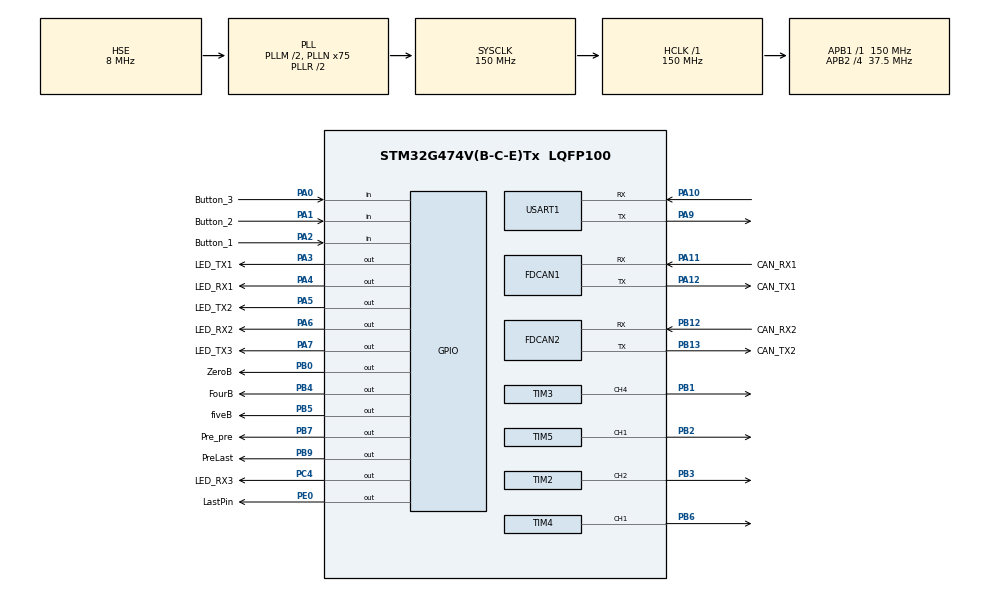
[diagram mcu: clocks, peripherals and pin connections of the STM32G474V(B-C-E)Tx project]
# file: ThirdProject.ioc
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Dma.Request0=USART1_TX
Dma.USART1_TX.0.Direction=DMA_MEMORY_TO_PERIPH
Dma.USART1_TX.0.EventEnable=DISABLE
Dma.USART1_TX.0.Instance=DMA1_Channel1
Dma.USART1_TX.0.MemDataAlignment=DMA_MDATAALIGN_BYTE
Dma.USART1_TX.0.MemInc=DMA_MINC_ENABLE
Dma.USART1_TX.0.Mode=DMA_NORMAL
Dma.USART1_TX.0.PeriphDataAlignment=DMA_PDATAALIGN_BYTE
Dma.USART1_TX.0.PeriphInc=DMA_PINC_DISABLE
Dma.USART1_TX.0.Polarity=HAL_DMAMUX_REQ_GEN_RISING
Dma.USART1_TX.0.Priority=DMA_PRIORITY_LOW
Dma.USART1_TX.0.RequestNumber=1
Dma.USART1_TX.0.SignalID=NONE
Dma.USART1_TX.0.SyncEnable=DISABLE
Dma.USART1_TX.0.SyncPolarity=HAL_DMAMUX_SYNC_NO_EVENT
Dma.USART1_TX.0.SyncRequestNumber=1
Dma.USART1_TX.0.SyncSignalID=NONE
FDCAN1.CalculateBaudRateNominal=500000
FDCAN1.CalculateTimeBitNominal=2000
FDCAN1.CalculateTimeQuantumNominal=125.0
FDCAN1.DataSyncJumpWidth=7
FDCAN1.DataTimeSeg1=7
FDCAN1.DataTimeSeg2=8
FDCAN1.NominalPrescaler=1
FDCAN1.NominalSyncJumpWidth=2
FDCAN1.NominalTimeSeg1=13
FDCAN1.StdFiltersNbr=1
FDCAN2.CalculateBaudRateNominal=500000
FDCAN2.CalculateTimeBitNominal=2000
FDCAN2.CalculateTimeQuantumNominal=125.0
FDCAN2.DataSyncJumpWidth=7
FDCAN2.DataTimeSeg1=7
FDCAN2.DataTimeSeg2=8
FDCAN2.NominalPrescaler=1
FDCAN2.NominalSyncJumpWidth=2
FDCAN2.NominalTimeSeg1=13
FDCAN2.StdFiltersNbr=1
Mcu.Family=STM32G4
Mcu.Name=STM32G474V(B-C-E)Tx
Mcu.Package=LQFP100
NVIC.DMA1_Channel1_IRQn=true\:0\:0\:false\:false\:true\:false\:true\:true
NVIC.FDCAN1_IT0_IRQn=true\:0\:0\:false\:false\:true\:true\:true\:true
NVIC.FDCAN2_IT0_IRQn=true\:0\:0\:false\:false\:true\:true\:true\:true
NVIC.PriorityGroup=NVIC_PRIORITYGROUP_4
NVIC.TIM2_IRQn=true\:0\:0\:false\:false\:true\:true\:true\:true
NVIC.TIM3_IRQn=true\:0\:0\:false\:false\:true\:true\:true\:true
NVIC.TIM4_IRQn=true\:0\:0\:false\:false\:true\:true\:true\:true
NVIC.TIM5_IRQn=true\:0\:0\:false\:false\:true\:true\:true\:true
NVIC.TIM6_DAC_IRQn=true\:0\:0\:false\:false\:true\:true\:true\:true
NVIC.USART1_IRQn=true\:0\:0\:false\:false\:true\:true\:true\:true
PA0.GPIO_Label=Button_3
PA0.GPIO_PuPd=GPIO_PULLUP
PA0.Signal=GPIO_Input
PA1.GPIO_Label=Button_2
PA1.GPIO_PuPd=GPIO_PULLUP
PA1.Signal=GPIO_Input
PA10.Mode=Asynchronous
PA10.Signal=USART1_RX
PA11.GPIO_Label=CAN_RX1
PA11.GPIO_PuPd=GPIO_PULLUP
PA11.Mode=FDCAN_Activate
PA11.Signal=FDCAN1_RX
PA12.GPIO_Label=CAN_TX1
PA12.Mode=FDCAN_Activate
PA12.Signal=FDCAN1_TX
PA13.Mode=Serial_Wire
PA13.Signal=SYS_JTMS-SWDIO
PA14.Mode=Serial_Wire
PA14.Signal=SYS_JTCK-SWCLK
PA15.GPIO_Pu=GPIO_PULLUP
PA15.Signal=I2C1_SCL
PA2.GPIO_Label=Button_1
PA2.GPIO_PuPd=GPIO_PULLUP
PA2.Signal=GPIO_Input
PA3.GPIO_Label=LED_TX1
PA3.PinState=GPIO_PIN_SET
PA3.Signal=GPIO_Output
PA4.GPIO_Label=LED_RX1
PA4.PinState=GPIO_PIN_SET
PA4.Signal=GPIO_Output
PA5.GPIO_Label=LED_TX2
PA5.PinState=GPIO_PIN_SET
PA5.Signal=GPIO_Output
PA6.GPIO_Label=LED_RX2
PA6.PinState=GPIO_PIN_SET
PA6.Signal=GPIO_Output
PA7.GPIO_Label=LED_TX3
PA7.PinState=GPIO_PIN_SET
PA7.Signal=GPIO_Output
PA8.GPIO_Label=CAN_RX3
PA8.Signal=FDCAN3_RX
PA9.Mode=Asynchronous
PA9.Signal=USART1_TX
PB0.GPIO_Label=ZeroB
PB0.Signal=GPIO_Output
PB1.Signal=S_TIM3_CH4
PB12.GPIO_Label=CAN_RX2
PB12.GPIO_PuPd=GPIO_PULLUP
PB12.Mode=FDCAN_Activate
PB12.Signal=FDCAN2_RX
PB13.GPIO_Label=CAN_TX2
PB13.Mode=FDCAN_Activate
PB13.Signal=FDCAN2_TX
PB2.Signal=S_TIM5_CH1
PB3.Signal=S_TIM2_CH2
PB4.GPIO_Label=FourB
PB4.Signal=GPIO_Output
PB5.GPIO_Label=fiveB
PB5.Signal=GPIO_Output
PB6.Signal=S_TIM4_CH1
PB7.GPIO_Label=Pre_pre
PB7.Signal=GPIO_Output
PB9.GPIO_Label=PreLast
PB9.Signal=GPIO_Output
PC4.GPIO_Label=LED_RX3
PC4.PinState=GPIO_PIN_SET
PC4.Signal=GPIO_Output
PE0.GPIO_Label=LastPin
PE0.Signal=GPIO_Output
PF0-OSC_IN.Mode=HSE-External-Oscillator
PF0-OSC_IN.Signal=RCC_OSC_IN
PF1-OSC_OUT.Mode=HSE-External-Oscillator
PF1-OSC_OUT.Signal=RCC_OSC_OUT
ProjectManager.HeapSize=0x200
ProjectManager.StackSize=0x400
ProjectManager.TargetToolchain=STM32CubeIDE
RCC.ADC12Freq_Value=150000000
RCC.ADC345Freq_Value=150000000
RCC.AHBFreq_Value=150000000
RCC.APB1Freq_Value=150000000
RCC.APB1TimFreq_Value=150000000
RCC.APB2CLKDivider=RCC_HCLK_DIV4
RCC.APB2Freq_Value=37500000
RCC.APB2TimFreq_Value=75000000
RCC.CortexFreq_Value=150000000
RCC.EXTERNAL_CLOCK_VALUE=12288000
RCC.FDCANCLockSelection=RCC_FDCANCLKSOURCE_HSE
RCC.HCLKFreq_Value=150000000
RCC.HSE_VALUE=8000000
RCC.HSI48_VALUE=48000000
RCC.HSI_VALUE=16000000
RCC.LSE_VALUE=32768
RCC.PLLM=RCC_PLLM_DIV2
RCC.PLLN=75
RCC.PLLSourceVirtual=RCC_PLLSOURCE_HSE
RCC.SYSCLKFreq_VALUE=150000000
RCC.SYSCLKSource=RCC_SYSCLKSOURCE_PLLCLK
RCC.USBFreq_Value=150000000
RCC.VCOOutputFreq_Value=300000000
SH.S_TIM2_CH2.0=TIM2_CH2,Output Compare2 CH2
SH.S_TIM3_CH4.0=TIM3_CH4,Output Compare4 CH4
SH.S_TIM4_CH1.0=TIM4_CH1,Output Compare1 CH1
SH.S_TIM5_CH1.0=TIM5_CH1,Output Compare1 CH1
TIM2.AutoReloadPreload=TIM_AUTORELOAD_PRELOAD_DISABLE
TIM2.Channel-Output\ Compare2\ CH2=TIM_CHANNEL_2
TIM2.OCMode_2=TIM_OCMODE_TOGGLE
TIM2.PeriodNoDither=10000
TIM2.Prescaler=12
TIM3.AutoReloadPreload=TIM_AUTORELOAD_PRELOAD_DISABLE
TIM3.Channel-Output\ Compare4\ CH4=TIM_CHANNEL_4
TIM3.OCMode_4=TIM_OCMODE_TOGGLE
TIM3.PeriodNoDither=10000
TIM3.Prescaler=24
TIM4.AutoReloadPreload=TIM_AUTORELOAD_PRELOAD_DISABLE
TIM4.Channel-Output\ Compare1\ CH1=TIM_CHANNEL_1
TIM4.OCMode_1=TIM_OCMODE_TOGGLE
TIM4.PeriodNoDither=10000
TIM4.Prescaler=24
TIM5.AutoReloadPreload=TIM_AUTORELOAD_PRELOAD_DISABLE
TIM5.Channel-Output\ Compare1\ CH1=TIM_CHANNEL_1
TIM5.OCMode_1=TIM_OCMODE_TOGGLE
TIM5.PeriodNoDither=10000
TIM5.Prescaler=12
TIM6.PeriodNoDither=1000
TIM6.Prescaler=15000
USART1.VirtualMode-Asynchronous=VM_ASYNC
VP_SYS_VS_DBSignals.Mode=DisableDeadBatterySignals
VP_TIM1_VS_ClockSourceITR.Mode=TriggerSource_ITR1
VP_TIM2_VS_ClockSourceINT.Mode=Internal
VP_TIM3_VS_ClockSourceINT.Mode=Internal
VP_TIM4_VS_ClockSourceINT.Mode=Internal
VP_TIM6_VS_ClockSourceINT.Mode=Enable_Timer
board=custom

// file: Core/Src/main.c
/* USER CODE BEGIN Header */
/**
 ******************************************************************************
 * @file           : main.c
 * @brief          : Main program body
 ******************************************************************************
 * @attention
 *
 * Copyright (c) 2025 STMicroelectronics.
 * All rights reserved.
 *
 * This software is licensed under terms that can be found in the LICENSE file
 * in the root directory of this software component.
 * If no LICENSE file comes with this software, it is provided AS-IS.
 *
 ******************************************************************************
 */
/* USER CODE END Header */
#include "main.h"

/* USER CODE BEGIN Includes */
#include <inttypes.h>
#include <stdarg.h>
#include <stdio.h>
#include <string.h>

/* USER CODE END Includes */

FDCAN_HandleTypeDef hfdcan1;
FDCAN_HandleTypeDef hfdcan2;

TIM_HandleTypeDef htim1;
TIM_HandleTypeDef htim2;
TIM_HandleTypeDef htim3;
TIM_HandleTypeDef htim4;
TIM_HandleTypeDef htim5;
TIM_HandleTypeDef htim6;

UART_HandleTypeDef huart1;
DMA_HandleTypeDef hdma_usart1_tx;

/* USER CODE BEGIN PV */

#define CAN_SPECIAL_ID 0x003
#define APB1_CLK 150000000
#define MinutTeethFactor 1.6
#define numFL 0
#define numFR 1
#define numRL 2
#define numRR 3

FDCAN_TxHeaderTypeDef TxHeader1;
FDCAN_RxHeaderTypeDef RxHeader1;

uint8_t canRX[8];  // CAN Bus Receive Buffer
uint8_t freshCanMsg = 0;

char ms100Flag = 0;
char ms100Flag_2 = 0;

typedef struct {
    uint8_t wheel_num;
    TIM_HandleTypeDef *htim;
    int prev_speed;
    int prev_psc;
    int cur_psc;
    int initial_tmp_flag;
    uint8_t psc_change_flag;
} whl_chnl;

/* USER CODE END PV */

void SystemClock_Config(void);
static void MX_GPIO_Init(void);
static void MX_DMA_Init(void);
static void MX_USART1_UART_Init(void);
static void MX_FDCAN1_Init(void);
static void MX_FDCAN2_Init(void);
static void MX_TIM2_Init(void);
static void MX_TIM3_Init(void);
static void MX_TIM4_Init(void);
static void MX_TIM5_Init(void);
static void MX_TIM6_Init(void);
static void MX_TIM1_Init(void);
/* USER CODE BEGIN PFP */
static void CANFD1_Set_Filtes(void);
void my_printf(const char *fmt, ...);
int calculete_prsc_and_perio(int val, int *arr, whl_chnl *whl_arr[], int wheelnum);
/* USER CODE END PFP */

/* USER CODE BEGIN 0 */
// this is for printf
int _write(int file, char *ptr, int len)
{
    int i = 0;
    for (i = 0; i < len; i++) ITM_SendChar(*ptr++);
    return len;
}

void PrintArrayLen(uint8_t *data_arr, uint8_t data_length)
{
    for (int i = 0; i < data_length; i++) {
        // printf("%lf\n",foo[i]);
        printf("%#x ", data_arr[i]);
    }
    printf("\n");
}

void PrintArray(uint8_t *data_arr)
{
    int debval;

    int denominator = sizeof(data_arr[0]);

    if (denominator > 0) {
        debval = (sizeof(data_arr) / denominator);
        for (int i = 0; i < debval; i++) {
            // printf("%lf\n",foo[i]);
            printf("%#x ", data_arr[i]);
        }
    }
    printf("\n");
}

uint32_t calculete_period_only(int val)
{
    // For 32bit timer

    float factor = 0.02;
    return (APB1_CLK / (val * factor * MinutTeethFactor * (12 + 1))) - 1;  // значение регистра ARR
}

int calculete_prsc_and_perio(int val, int *arr, whl_chnl *whl_arr[], int wheelnum)
{
    // Нужно будет отладить.

    float factor = 0.02;

    int newpresc;

    if (val < 4274) {
        newpresc = 1200;
    }
    else {
        newpresc = 24;
    }

    // Только временно
    if (whl_arr[wheelnum]->initial_tmp_flag == 0) {
        /* arr[0] =  newpresc; */
        /* my_printf("prescaler_only_once for %d wheel\n\r", wheelnum); */
        whl_arr[wheelnum]->initial_tmp_flag = 1;
        arr[0] = 24;  // tmp
    }
    else {

        arr[0] = whl_arr[wheelnum]->prev_psc;
    }
    whl_arr[wheelnum]->prev_psc = newpresc;

    arr[1] = newpresc;

    uint32_t tmp;
    /* int tmp; */
    tmp = (APB1_CLK / (val * factor * MinutTeethFactor * (arr[0] + 1))) - 1;  // значение регистра ARR
    if (tmp > 65536) {
        /* my_printf(" -------------> GLITCH!\n\r"); */
        /* my_printf("res: %d \n\r", tmp); */
        /* my_printf("PSC:%d \n\r", arr[0]); */
        /* my_printf("signal: %d \n\n\r", val); */
        tmp = 65535;  // обрезаем. Хоть это и не правильно1
    }
    arr[2] = (int)tmp;
    if (arr[0] != arr[1]) {
        /* my_printf("             --              \n\r"); */
        /* my_printf("old_arr: %d\n\r", tmp); */

        tmp = ((APB1_CLK / (val * factor * MinutTeethFactor * (newpresc + 1))) - 1);  // значение регистра ARR
                                                                                      //
        /* my_printf("new_arr: %d\n\r", tmp); */

        if (tmp > 65536) {
            /* my_printf(" -------------> GLITCH_2!\n\r"); */
            /* HAL_GPIO_TogglePin(PreLast_GPIO_Port, PreLast_Pin); */
            tmp = 65535;  // обрезаем. Хоть это и не правильно.
        }

        arr[3] = (int)tmp;
        /* arr[3] = 100; */

        /* my_printf("old_arr_casted: %d\n\r", arr[2]); */
        /* my_printf("arr_casted: %d\n\r", arr[3]); */
        /* my_printf("PSC old: %d\n\r", arr[0]); */
        /* my_printf("PSC current: %d\n\n\r", arr[1]); */
        /* my_printf("val: %d\n\n\r", val); */
        /* my_printf("\n"); */

    }
    else {
        arr[3] = arr[2];
    }

    return 0;
}

void set_new_speeds(int vFLrpm, int vFRrpm, int vRLrpm, int vRRrpm, whl_chnl *whl_arr[])
{
    //__HAL_TIM_SET_PRESCALER(&htim3, val );
    //__HAL_TIM_SET_AUTORELOAD(&htim3, val );
    /* permutations! */
    /* 1) changing prescaler up or down  */
    /* 2) the same prescaler */
    /* ----- */
    /* 1) going up (speed up) */
    /* 2) going down. */

    // 32-bit timers first

    ////////////    TIMER2 -  RL  ///////////////
    if (vRLrpm == 0) {
        TIM2->CR1 &= ~((uint16_t)TIM_CR1_CEN);
    }
    else {
        TIM2->CR1 |= TIM_CR1_CEN;  // enable
                                   //
        uint32_t current_32bit_period = calculete_period_only(vRLrpm);

        if (vRLrpm > whl_arr[numRL]->prev_speed) {
            TIM2->CR1 |= TIM_CR1_ARPE;
            TIM2->ARR = current_32bit_period;

            if (TIM2->CNT > current_32bit_period) {
                TIM2->EGR |= TIM_EGR_UG;
            }

            HAL_GPIO_TogglePin(LED_RX2_GPIO_Port, LED_RX2_Pin);
        }
        else {
            /* my_printf(" ARR: %d\n\r", arr_with_calculations[0]); */

            HAL_GPIO_TogglePin(LED_TX2_GPIO_Port, LED_TX2_Pin);

            if (TIM2->CNT < current_32bit_period) {
                TIM2->CR1 |= TIM_CR1_ARPE;
                TIM2->ARR = current_32bit_period;
            }
            else {
                // Не должна никогда выполняться.
                TIM2->CR1 &= ~TIM_CR1_ARPE;
                TIM2->ARR = current_32bit_period;
            }
        }

        //Костыльный предохранитель от убегания.
        if (TIM2->CNT > current_32bit_period) {
            TIM2->EGR |= TIM_EGR_UG;
        }
    }
    whl_arr[numRL]->prev_speed = vRLrpm;

    ////////////    TIMER5 -  RR  ///////////////
    if (vRRrpm == 0) {
        TIM5->CR1 &= ~((uint16_t)TIM_CR1_CEN);
    }
    else {
        TIM5->CR1 |= TIM_CR1_CEN;  // enable
                                   //
        uint32_t current_32bit_period = calculete_period_only(vRRrpm);

        if (vRRrpm > whl_arr[numRR]->prev_speed) {
            TIM5->CR1 |= TIM_CR1_ARPE;
            TIM5->ARR = current_32bit_period;

            if (TIM5->CNT > current_32bit_period) {
                TIM5->EGR |= TIM_EGR_UG;
            }

            HAL_GPIO_TogglePin(LED_RX2_GPIO_Port, LED_RX2_Pin);
        }
        else {
            /* my_printf(" ARR: %d\n\r", arr_with_calculations[0]); */

            HAL_GPIO_TogglePin(LED_TX2_GPIO_Port, LED_TX2_Pin);

            if (TIM5->CNT < current_32bit_period) {
                TIM5->CR1 |= TIM_CR1_ARPE;
                TIM5->ARR = current_32bit_period;
            }
            else {
                TIM5->CR1 &= ~TIM_CR1_ARPE;
                TIM5->ARR = current_32bit_period;
            }
        }

        //Костыльный предохранитель от убегания.
        if (TIM5->CNT > current_32bit_period) {
            TIM5->EGR |= TIM_EGR_UG;
            HAL_GPIO_TogglePin(LED_RX3_GPIO_Port, LED_RX3_Pin);
        }
    }
    whl_arr[numRR]->prev_speed = vRRrpm;

    int arr_with_calculations[4] = {300, 300, 300, 300};

    ////////////    TIMER3 -  FR  ///////////////

    if (vFRrpm == 0) {
        TIM3->CR1 &= ~((uint16_t)TIM_CR1_CEN);
    }
    else {
        TIM3->CR1 |= TIM_CR1_CEN;  // enable

        calculete_prsc_and_perio(vFRrpm, arr_with_calculations, whl_arr, numFR);

        if (vFRrpm != whl_arr[numFR]->prev_speed) {
            if (vFRrpm > whl_arr[numFR]->prev_speed) {

                if (whl_arr[numFR]->psc_change_flag == 1) {
                    //this isn't functional now.
                    whl_arr[numFR]->psc_change_flag = 0;
                    TIM3->CCMR1 |= TIM_CCMR1_OC1M_0;
                    TIM3->CCMR1 |= TIM_CCMR1_OC1M_1;
                }

                if (TIM3->CNT > (arr_with_calculations[2])) {
                    TIM3->PSC = arr_with_calculations[1];
                    TIM3->ARR = arr_with_calculations[3];
                    TIM3->EGR = TIM_EGR_UG;

                }
                /*
                В любом случае рассчитываем точку по старому прескалеру.
                Если точка пройдена (по старому прескалеру) то.

                     - Если есть новое значение пресклера, кладём его в
                     PSC . Мы всё равно ведь будем вызывать  UG ?? оно как
                     раз применится.
                     - Кладём ARR (рассчитанный по новому)
                     - Вызываем UG.
                 */
                else {
                    /*
                     Точка ещё не пройдена. В этом случае нельзя вызвать UG.
                     будет Glitch.
                     - пишем новый ARR  по старому прескалеру (без буфера)
                     - если PSC поменялся, то кладём уже по буферу и PSC и ARR.
                     */
                    TIM3->CR1 |= TIM_CR1_ARPE;
                    TIM3->ARR = arr_with_calculations[2];
                    if (arr_with_calculations[0] != arr_with_calculations[1]) {

                        TIM3->CR1 &= ~TIM_CR1_ARPE;
                        TIM3->PSC = arr_with_calculations[1];
                        TIM3->ARR = arr_with_calculations[3];

                        HAL_GPIO_TogglePin(LastPin_GPIO_Port, LastPin_Pin);

                        // только для теста. TODO
                        TIM3->EGR = TIM_EGR_UG;
                    }

                    /* TIM3->CR1 |= TIM_CR1_ARPE;    // будем писать сразу в ARR (мимо shadow) */
                    /* TIM3->ARR = arr_with_calculations[2]; */
                    /* [> Костыльный предохранитель от убегания. <] */
                    /* if (TIM3->CNT > arr_with_calculations[2]) { */
                        /* TIM3->EGR |= TIM_EGR_UG; */
                    /* } */

                }
            }
            else {
                HAL_GPIO_TogglePin(LED_TX2_GPIO_Port, LED_TX2_Pin);
                /*
                меньше. Скорость уменьшается. В этом случае обычно.период
                увеличивается. Но - прескалер может
                увеличиться (переключиться), и тем самым рассчётное значение ARR
                может быть значительно меньше, чем текущее.
                1.  Если не меняется  PSC - пишем  ARR без буфер. Это не
                вызывает никакх проблем вообще
                2.  �?зменение  PSC в этом случае пишем по старому прескелеру
                без буфера, рассчитываем новую пару и пишем по буферу!
                 */

                TIM3->CR1 |= TIM_CR1_ARPE;
                TIM3->ARR = arr_with_calculations[2];

                HAL_GPIO_TogglePin(PreLast_GPIO_Port, Pre_pre_Pin);

                if (arr_with_calculations[0] != arr_with_calculations[1]) {

                    /* TIM3->CR1 &= ~TIM_CR1_ARPE; */

                    TIM3->PSC = arr_with_calculations[1];
                    TIM3->ARR = arr_with_calculations[3];

                    HAL_GPIO_TogglePin(PreLast_GPIO_Port, PreLast_Pin);
                }

            }
            whl_arr[numFR]->initial_tmp_flag = arr_with_calculations[1];
            whl_arr[numFR]->prev_speed = vFRrpm;
        }
    }

    ////////////    TIMER4 -  FL  ///////////////

    if (vFLrpm == 0) {
        TIM4->CR1 &= ~((uint16_t)TIM_CR1_CEN);
    }
    else {
        TIM4->CR1 |= TIM_CR1_CEN;  // enable

        calculete_prsc_and_perio(vFLrpm, arr_with_calculations, whl_arr, numFL);

        if (vFLrpm != whl_arr[numFL]->prev_speed) {
            if (vFLrpm > whl_arr[numFL]->prev_speed) {

                if (whl_arr[numFL]->psc_change_flag == 1) {
                    //this isn't functional now.
                    whl_arr[numFL]->psc_change_flag = 0;
                    TIM4->CCMR1 |= TIM_CCMR1_OC1M_0;
                    TIM4->CCMR1 |= TIM_CCMR1_OC1M_1;
                }

                if (TIM4->CNT > (arr_with_calculations[2])) {
                    TIM4->PSC = arr_with_calculations[1];
                    TIM4->ARR = arr_with_calculations[3];
                    TIM4->EGR = TIM_EGR_UG;

                }
                /*
                В любом случае рассчитываем точку по старому прескалеру.
                Если точка пройдена (по старому прескалеру) то.

                     - Если есть новое значение пресклера, кладём его в
                     PSC . Мы всё равно ведь будем вызывать  UG ?? оно как
                     раз применится.
                     - Кладём ARR (рассчитанный по новому)
                     - Вызываем UG.
                 */
                else {
                    /*
                     Точка ещё не пройдена. В этом случае нельзя вызвать UG.
                     будет Glitch.
                     - пишем новый ARR  по старому прескалеру (без буфера)
                     - если PSC поменялся, то кладём уже по буферу и PSC и ARR.
                     */
                    TIM4->CR1 |= TIM_CR1_ARPE;
                    TIM4->ARR = arr_with_calculations[2];
                    if (arr_with_calculations[0] != arr_with_calculations[1]) {

                        TIM4->CR1 &= ~TIM_CR1_ARPE;
                        TIM4->PSC = arr_with_calculations[1];
                        TIM4->ARR = arr_with_calculations[3];

                        HAL_GPIO_TogglePin(LastPin_GPIO_Port, LastPin_Pin);

                        // только для теста. TODO
                        TIM4->EGR = TIM_EGR_UG;
                    }

                    /* TIM4->CR1 |= TIM_CR1_ARPE;    // будем писать сразу в ARR (мимо shadow) */
                    /* TIM4->ARR = arr_with_calculations[2]; */
                    /* [> Костыльный предохранитель от убегания. <] */
                    /* if (TIM4->CNT > arr_with_calculations[2]) { */
                        /* TIM4->EGR |= TIM_EGR_UG; */
                    /* } */

                }
            }
            else {
                HAL_GPIO_TogglePin(LED_TX2_GPIO_Port, LED_TX2_Pin);
                /*
                меньше. Скорость уменьшается. В этом случае обычно.период
                увеличивается. Но - прескалер может
                увеличиться (переключиться), и тем самым рассчётное значение ARR
                может быть значительно меньше, чем текущее.
                1.  Если не меняется  PSC - пишем  ARR без буфер. Это не
                вызывает никакх проблем вообще
                2.  �?зменение  PSC в этом случае пишем по старому прескелеру
                без буфера, рассчитываем новую пару и пишем по буферу!
                 */

                TIM4->CR1 |= TIM_CR1_ARPE;
                TIM4->ARR = arr_with_calculations[2];

                HAL_GPIO_TogglePin(PreLast_GPIO_Port, Pre_pre_Pin);

                if (arr_with_calculations[0] != arr_with_calculations[1]) {

                    /* TIM4->CR1 &= ~TIM_CR1_ARPE; */

                    TIM4->PSC = arr_with_calculations[1];
                    TIM4->ARR = arr_with_calculations[3];

                    HAL_GPIO_TogglePin(PreLast_GPIO_Port, PreLast_Pin);
                }

            }
            whl_arr[numFL]->initial_tmp_flag = arr_with_calculations[1];
            whl_arr[numFL]->prev_speed = vFLrpm;
        }
    }

}

void vprint(const char *fmt, va_list argp)
{
    char string[200];
    if (0 < vsprintf(string, fmt, argp))  // build string
    {
        HAL_UART_Transmit(&huart1, (uint8_t *)string, strlen(string),
                          0xffffff);  // send message via UART
    }
}

void my_printf(const char *fmt, ...)  // custom printf() function
{
    va_list argp;
    va_start(argp, fmt);
    vprint(fmt, argp);
    va_end(argp);
}

void print_test(void)
{
    printf("\r\nRTOS\r\nCharacters: %c %c\r\n", 'a', 65);
    printf("Decimals: %d %ld\r\n", 1977, 650000L);
    printf("Preceding with blanks: %10d\r\n", 1977);
    printf("Preceding with zeros: %010d\r\n", 1977);
    printf("Some different radices: %d %x %o %#x %#o\r\n", 100, 100, 100, 100, 100);
    printf("floats: %4.2f %+.0e %E\r\n", 3.1416, 3.1416, 3.1416);
    printf("Width trick: %*d\r\n", 5, 10);
    printf("%s\r\n\r\n", "A string");

    my_printf("\r\nRTOS\r\nCharacters: %c %c\r\n", 'a', 65);
    my_printf("Decimals: %d %ld\r\n", 1977, 650000L);
    my_printf("Preceding with blanks: %10d\r\n", 1977);
    my_printf("Preceding with zeros: %010d\r\n", 1977);
    my_printf("Some different radices: %d %x %o %#x %#o\r\n", 100, 100, 100, 100, 100);
    my_printf("floats: %4.2f %+.0e %E\r\n", 3.1416, 3.1416, 3.1416);
    my_printf("Width trick: %*d\r\n", 5, 10);
    my_printf("%s\r\n\r\n", "A string");
}

void HAL_TIM_PeriodElapsedCallback(TIM_HandleTypeDef *htim)
{

    if (htim->Instance == TIM6) {
        /*my_printf("100 ms \n");*/
        ms100Flag = 1;
        ms100Flag_2 = 1;
    }

    if (htim->Instance == TIM3) {

        HAL_GPIO_TogglePin(PreLast_GPIO_Port, FourB_Pin);

        // почему разыменование?? - требование к аргументу - __HANDLE__: TIM
        //
        // handle
        /* int t_val = __HAL_TIM_GET_COUNTER(&htim2); */
        /* int v_arr = __HAL_TIM_GET_AUTORELOAD(&htim2); */

        /* my_printf("t2:ctr: %d /n", t_val); */
        /* my_printf("t2:arr: %d /n", v_arr); */

        /* if (g_psc_change_flag == 1) { */
            /* g_psc_change_flag = 0; */

            /* [> TIM2 -> CCMR1 |= TIM_CCMR1_OC1M; //set to 1 - toggle again <] */
        /* } */
    }
    else if (htim->Instance == TIM4) {

        HAL_GPIO_TogglePin(PreLast_GPIO_Port, fiveB_Pin);
    }
    else if (htim->Instance == TIM8) {

        /* reset CEN bit of the TIMx_CR1 (disable counter) */
        /* write new prescaler value to TIMx_PSC */
        /* set the UG (Update generation) bit of the TIMx_EGR */
        /* reset UIF bit of TIMx_SR        (clear IRQ flag) */
        /* set CEN bit of the TIMx_CR1 (enable counter) */
    }
    /* else if (htim->Instance == TIM5) { */
    /* } */
}
void calculate_arr(whl_chnl *whl_arr[], int whl)
{
    //
    // примеры обращения к элемента структуры
    //   whl_arr[whl]->pref_speed
    //   whl_arr[whl]->cur_psc
    //   whl_arr[whl]->flag
}

/* USER CODE END 0 */

int main(void)
{

  /* MCU Configuration--------------------------------------------------------*/

  /* Reset of all peripherals, Initializes the Flash interface and the Systick. */
  HAL_Init();

  /* Configure the system clock */
  SystemClock_Config();

  /* Initialize all configured peripherals */
  MX_GPIO_Init();
  MX_DMA_Init();
  MX_USART1_UART_Init();
  MX_FDCAN1_Init();
  MX_FDCAN2_Init();
  MX_TIM2_Init();
  MX_TIM3_Init();
  MX_TIM4_Init();
  MX_TIM5_Init();
  MX_TIM6_Init();
  MX_TIM1_Init();
  /* USER CODE BEGIN 2 */

    CANFD1_Set_Filtes();

    // Start four timers
    HAL_TIM_Base_Start_IT(&htim2);
    HAL_TIM_Base_Start_IT(&htim3);
    HAL_TIM_Base_Start_IT(&htim4);
    HAL_TIM_Base_Start_IT(&htim5);

    HAL_TIM_OC_Start_IT(&htim2, TIM_CHANNEL_2);
    HAL_TIM_OC_Start_IT(&htim3, TIM_CHANNEL_4);
    HAL_TIM_OC_Start_IT(&htim4, TIM_CHANNEL_1);
    HAL_TIM_OC_Start_IT(&htim5, TIM_CHANNEL_1);

    // timer6 (10Hz);
    HAL_TIM_Base_Start_IT(&htim6);
#ifdef DEBUG
    printf("[ INFO ] Program start now\n");
#endif

  /* USER CODE END 2 */

  /* Infinite loop */
  /* USER CODE BEGIN WHILE */
    int counter = 0;
    int realcou = 0;
    int seconds_from_start = 0;
    printf("async debug is on");

    whl_chnl fl_whl_s = {numFL, &htim2, 0, 12, 0, 0};
    whl_chnl *p_fl_whl;
    p_fl_whl = &fl_whl_s;

    whl_chnl fr_whl_s = {numFR, &htim3, 0, 24, 0, 0};
    whl_chnl *p_fr_whl;
    p_fr_whl = &fr_whl_s;

    whl_chnl rl_whl_s = {numRL, &htim4, 0, 24, 0, 0};
    whl_chnl *p_rl_whl;
    p_rl_whl = &rl_whl_s;

    whl_chnl rr_whl_s = {numRR, &htim5, 0, 12, 0, 0};
    whl_chnl *p_rr_whl;
    p_rr_whl = &rr_whl_s;

    whl_chnl *whl_arr[4];

    whl_arr[numFL] = p_fl_whl;
    whl_arr[numFR] = p_fr_whl;
    whl_arr[numRL] = p_rl_whl;
    whl_arr[numRR] = p_rr_whl;

    /* calculate_arr(whl_arr, 0);    //  делаю функцию, которая  принимае int */

    while (1) {
    /* USER CODE END WHILE */

    /* USER CODE BEGIN 3 */

        /* Не забудь потом убрать эту задержку  */

        /* HAL_Delay(0.01); // Insert delay 100 ms */
        /* printf("100ms passed\n"); */

        if (ms100Flag_2 > 0) {
            ms100Flag_2 = 0;
            realcou++;
            if (realcou > 9) {
                realcou = 0;
                /* my_printf(" %d seconds\n\r", seconds_from_start); */
                HAL_GPIO_TogglePin(LED_TX3_GPIO_Port, LED_TX3_Pin);
                seconds_from_start++;
            }
        }

        if (freshCanMsg == 1) {
            freshCanMsg = 0;
            HAL_GPIO_TogglePin(LED_TX1_GPIO_Port, LED_TX1_Pin);

            /*PrintArrayLen(canRX, sizeof(canRX));  // works
             * perfectly.*/
            // PrintArray(canRX);  // But why??

            int vFLrpm, vFRrpm, vRLrpm, vRRrpm;

            vFLrpm = (uint8_t)canRX[0] << 8 | (uint8_t)canRX[1];
            vFRrpm = (uint8_t)canRX[2] << 8 | (uint8_t)canRX[3];
            vRLrpm = (uint8_t)canRX[4] << 8 | (uint8_t)canRX[5];
            vRRrpm = (uint8_t)canRX[6] << 8 | (uint8_t)canRX[7];

            /*my_printf("vFLrpm: %d vFRrpm: %d  vRLrpm: %d  vRRrpm: %d \n",
             * vFLrpm, vFRrpm, vRLrpm, vRRrpm);*/
            set_new_speeds(vFLrpm, vFRrpm, vRLrpm, vRRrpm, whl_arr);

            counter += 1;

            if (ms100Flag > 0) {
                ms100Flag = 0;
                if (counter > 0) {
                    /* my_printf("receiving at %d per second\n\r", counter *
                     * 10); */
                    /* my_printf("vFLrpm: %d vFRrpm: %d  vRLrpm: %d  vRRrpm: %d
                       \n\r", vFLrpm, vFRrpm, vRLrpm, vRRrpm);*/

                    counter = 0;
                }
            }
        }
    }
  /* USER CODE END 3 */
}

void SystemClock_Config(void)
{
  RCC_OscInitTypeDef RCC_OscInitStruct = {0};
  RCC_ClkInitTypeDef RCC_ClkInitStruct = {0};

  /** Configure the main internal regulator output voltage
  */
  HAL_PWREx_ControlVoltageScaling(PWR_REGULATOR_VOLTAGE_SCALE1);

  /** Initializes the RCC Oscillators according to the specified parameters
  * in the RCC_OscInitTypeDef structure.
  */
  RCC_OscInitStruct.OscillatorType = RCC_OSCILLATORTYPE_HSE;
  RCC_OscInitStruct.HSEState = RCC_HSE_ON;
  RCC_OscInitStruct.PLL.PLLState = RCC_PLL_ON;
  RCC_OscInitStruct.PLL.PLLSource = RCC_PLLSOURCE_HSE;
  RCC_OscInitStruct.PLL.PLLM = RCC_PLLM_DIV2;
  RCC_OscInitStruct.PLL.PLLN = 75;
  RCC_OscInitStruct.PLL.PLLP = RCC_PLLP_DIV2;
  RCC_OscInitStruct.PLL.PLLQ = RCC_PLLQ_DIV2;
  RCC_OscInitStruct.PLL.PLLR = RCC_PLLR_DIV2;
  if (HAL_RCC_OscConfig(&RCC_OscInitStruct) != HAL_OK)
  {
    Error_Handler();
  }

  /** Initializes the CPU, AHB and APB buses clocks
  */
  RCC_ClkInitStruct.ClockType = RCC_CLOCKTYPE_HCLK|RCC_CLOCKTYPE_SYSCLK
                              |RCC_CLOCKTYPE_PCLK1|RCC_CLOCKTYPE_PCLK2;
  RCC_ClkInitStruct.SYSCLKSource = RCC_SYSCLKSOURCE_PLLCLK;
  RCC_ClkInitStruct.AHBCLKDivider = RCC_SYSCLK_DIV1;
  RCC_ClkInitStruct.APB1CLKDivider = RCC_HCLK_DIV1;
  RCC_ClkInitStruct.APB2CLKDivider = RCC_HCLK_DIV4;

  if (HAL_RCC_ClockConfig(&RCC_ClkInitStruct, FLASH_LATENCY_4) != HAL_OK)
  {
    Error_Handler();
  }
}

static void MX_FDCAN1_Init(void)
{

  hfdcan1.Instance = FDCAN1;
  hfdcan1.Init.ClockDivider = FDCAN_CLOCK_DIV1;
  hfdcan1.Init.FrameFormat = FDCAN_FRAME_CLASSIC;
  hfdcan1.Init.Mode = FDCAN_MODE_NORMAL;
  hfdcan1.Init.AutoRetransmission = DISABLE;
  hfdcan1.Init.TransmitPause = DISABLE;
  hfdcan1.Init.ProtocolException = DISABLE;
  hfdcan1.Init.NominalPrescaler = 1;
  hfdcan1.Init.NominalSyncJumpWidth = 2;
  hfdcan1.Init.NominalTimeSeg1 = 13;
  hfdcan1.Init.NominalTimeSeg2 = 2;
  hfdcan1.Init.DataPrescaler = 1;
  hfdcan1.Init.DataSyncJumpWidth = 7;
  hfdcan1.Init.DataTimeSeg1 = 7;
  hfdcan1.Init.DataTimeSeg2 = 8;
  hfdcan1.Init.StdFiltersNbr = 1;
  hfdcan1.Init.ExtFiltersNbr = 0;
  hfdcan1.Init.TxFifoQueueMode = FDCAN_TX_FIFO_OPERATION;
  if (HAL_FDCAN_Init(&hfdcan1) != HAL_OK)
  {
    Error_Handler();
  }

}

static void MX_FDCAN2_Init(void)
{

  hfdcan2.Instance = FDCAN2;
  hfdcan2.Init.ClockDivider = FDCAN_CLOCK_DIV1;
  hfdcan2.Init.FrameFormat = FDCAN_FRAME_CLASSIC;
  hfdcan2.Init.Mode = FDCAN_MODE_NORMAL;
  hfdcan2.Init.AutoRetransmission = DISABLE;
  hfdcan2.Init.TransmitPause = DISABLE;
  hfdcan2.Init.ProtocolException = DISABLE;
  hfdcan2.Init.NominalPrescaler = 1;
  hfdcan2.Init.NominalSyncJumpWidth = 2;
  hfdcan2.Init.NominalTimeSeg1 = 13;
  hfdcan2.Init.NominalTimeSeg2 = 2;
  hfdcan2.Init.DataPrescaler = 1;
  hfdcan2.Init.DataSyncJumpWidth = 7;
  hfdcan2.Init.DataTimeSeg1 = 7;
  hfdcan2.Init.DataTimeSeg2 = 8;
  hfdcan2.Init.StdFiltersNbr = 1;
  hfdcan2.Init.ExtFiltersNbr = 0;
  hfdcan2.Init.TxFifoQueueMode = FDCAN_TX_FIFO_OPERATION;
  if (HAL_FDCAN_Init(&hfdcan2) != HAL_OK)
  {
    Error_Handler();
  }

}

static void MX_TIM1_Init(void)
{

  TIM_SlaveConfigTypeDef sSlaveConfig = {0};
  TIM_MasterConfigTypeDef sMasterConfig = {0};

  htim1.Instance = TIM1;
  htim1.Init.Prescaler = 0;
  htim1.Init.CounterMode = TIM_COUNTERMODE_UP;
  htim1.Init.Period = 65535;
  htim1.Init.ClockDivision = TIM_CLOCKDIVISION_DIV1;
  htim1.Init.RepetitionCounter = 0;
  htim1.Init.AutoReloadPreload = TIM_AUTORELOAD_PRELOAD_DISABLE;
  if (HAL_TIM_Base_Init(&htim1) != HAL_OK)
  {
    Error_Handler();
  }
  sSlaveConfig.SlaveMode = TIM_SLAVEMODE_DISABLE;
  sSlaveConfig.InputTrigger = TIM_TS_ITR1;
  if (HAL_TIM_SlaveConfigSynchro(&htim1, &sSlaveConfig) != HAL_OK)
  {
    Error_Handler();
  }
  sMasterConfig.MasterOutputTrigger = TIM_TRGO_RESET;
  sMasterConfig.MasterOutputTrigger2 = TIM_TRGO2_RESET;
  sMasterConfig.MasterSlaveMode = TIM_MASTERSLAVEMODE_DISABLE;
  if (HAL_TIMEx_MasterConfigSynchronization(&htim1, &sMasterConfig) != HAL_OK)
  {
    Error_Handler();
  }

}

static void MX_TIM2_Init(void)
{

  TIM_ClockConfigTypeDef sClockSourceConfig = {0};
  TIM_MasterConfigTypeDef sMasterConfig = {0};
  TIM_OC_InitTypeDef sConfigOC = {0};

  htim2.Instance = TIM2;
  htim2.Init.Prescaler = 12;
  htim2.Init.CounterMode = TIM_COUNTERMODE_UP;
  htim2.Init.Period = 10000;
  htim2.Init.ClockDivision = TIM_CLOCKDIVISION_DIV1;
  htim2.Init.AutoReloadPreload = TIM_AUTORELOAD_PRELOAD_DISABLE;
  if (HAL_TIM_Base_Init(&htim2) != HAL_OK)
  {
    Error_Handler();
  }
  sClockSourceConfig.ClockSource = TIM_CLOCKSOURCE_INTERNAL;
  if (HAL_TIM_ConfigClockSource(&htim2, &sClockSourceConfig) != HAL_OK)
  {
    Error_Handler();
  }
  if (HAL_TIM_OC_Init(&htim2) != HAL_OK)
  {
    Error_Handler();
  }
  sMasterConfig.MasterOutputTrigger = TIM_TRGO_RESET;
  sMasterConfig.MasterSlaveMode = TIM_MASTERSLAVEMODE_DISABLE;
  if (HAL_TIMEx_MasterConfigSynchronization(&htim2, &sMasterConfig) != HAL_OK)
  {
    Error_Handler();
  }
  sConfigOC.OCMode = TIM_OCMODE_TOGGLE;
  sConfigOC.Pulse = 0;
  sConfigOC.OCPolarity = TIM_OCPOLARITY_HIGH;
  sConfigOC.OCFastMode = TIM_OCFAST_DISABLE;
  if (HAL_TIM_OC_ConfigChannel(&htim2, &sConfigOC, TIM_CHANNEL_2) != HAL_OK)
  {
    Error_Handler();
  }
  HAL_TIM_MspPostInit(&htim2);

}

static void MX_TIM3_Init(void)
{

  TIM_ClockConfigTypeDef sClockSourceConfig = {0};
  TIM_MasterConfigTypeDef sMasterConfig = {0};
  TIM_OC_InitTypeDef sConfigOC = {0};

  htim3.Instance = TIM3;
  htim3.Init.Prescaler = 24;
  htim3.Init.CounterMode = TIM_COUNTERMODE_UP;
  htim3.Init.Period = 10000;
  htim3.Init.ClockDivision = TIM_CLOCKDIVISION_DIV1;
  htim3.Init.AutoReloadPreload = TIM_AUTORELOAD_PRELOAD_DISABLE;
  if (HAL_TIM_Base_Init(&htim3) != HAL_OK)
  {
    Error_Handler();
  }
  sClockSourceConfig.ClockSource = TIM_CLOCKSOURCE_INTERNAL;
  if (HAL_TIM_ConfigClockSource(&htim3, &sClockSourceConfig) != HAL_OK)
  {
    Error_Handler();
  }
  if (HAL_TIM_OC_Init(&htim3) != HAL_OK)
  {
    Error_Handler();
  }
  sMasterConfig.MasterOutputTrigger = TIM_TRGO_RESET;
  sMasterConfig.MasterSlaveMode = TIM_MASTERSLAVEMODE_DISABLE;
  if (HAL_TIMEx_MasterConfigSynchronization(&htim3, &sMasterConfig) != HAL_OK)
  {
    Error_Handler();
  }
  sConfigOC.OCMode = TIM_OCMODE_TOGGLE;
  sConfigOC.Pulse = 0;
  sConfigOC.OCPolarity = TIM_OCPOLARITY_HIGH;
  sConfigOC.OCFastMode = TIM_OCFAST_DISABLE;
  if (HAL_TIM_OC_ConfigChannel(&htim3, &sConfigOC, TIM_CHANNEL_4) != HAL_OK)
  {
    Error_Handler();
  }
  HAL_TIM_MspPostInit(&htim3);

}

static void MX_TIM4_Init(void)
{

  TIM_ClockConfigTypeDef sClockSourceConfig = {0};
  TIM_MasterConfigTypeDef sMasterConfig = {0};
  TIM_OC_InitTypeDef sConfigOC = {0};

  htim4.Instance = TIM4;
  htim4.Init.Prescaler = 24;
  htim4.Init.CounterMode = TIM_COUNTERMODE_UP;
  htim4.Init.Period = 10000;
  htim4.Init.ClockDivision = TIM_CLOCKDIVISION_DIV1;
  htim4.Init.AutoReloadPreload = TIM_AUTORELOAD_PRELOAD_DISABLE;
  if (HAL_TIM_Base_Init(&htim4) != HAL_OK)
  {
    Error_Handler();
  }
  sClockSourceConfig.ClockSource = TIM_CLOCKSOURCE_INTERNAL;
  if (HAL_TIM_ConfigClockSource(&htim4, &sClockSourceConfig) != HAL_OK)
  {
    Error_Handler();
  }
  if (HAL_TIM_OC_Init(&htim4) != HAL_OK)
  {
    Error_Handler();
  }
  sMasterConfig.MasterOutputTrigger = TIM_TRGO_RESET;
  sMasterConfig.MasterSlaveMode = TIM_MASTERSLAVEMODE_DISABLE;
  if (HAL_TIMEx_MasterConfigSynchronization(&htim4, &sMasterConfig) != HAL_OK)
  {
    Error_Handler();
  }
  sConfigOC.OCMode = TIM_OCMODE_TOGGLE;
  sConfigOC.Pulse = 0;
  sConfigOC.OCPolarity = TIM_OCPOLARITY_HIGH;
  sConfigOC.OCFastMode = TIM_OCFAST_DISABLE;
  if (HAL_TIM_OC_ConfigChannel(&htim4, &sConfigOC, TIM_CHANNEL_1) != HAL_OK)
  {
    Error_Handler();
  }
  HAL_TIM_MspPostInit(&htim4);

}

static void MX_TIM5_Init(void)
{

  TIM_MasterConfigTypeDef sMasterConfig = {0};
  TIM_OC_InitTypeDef sConfigOC = {0};

  htim5.Instance = TIM5;
  htim5.Init.Prescaler = 12;
  htim5.Init.CounterMode = TIM_COUNTERMODE_UP;
  htim5.Init.Period = 10000;
  htim5.Init.ClockDivision = TIM_CLOCKDIVISION_DIV1;
  htim5.Init.AutoReloadPreload = TIM_AUTORELOAD_PRELOAD_DISABLE;
  if (HAL_TIM_OC_Init(&htim5) != HAL_OK)
  {
    Error_Handler();
  }
  sMasterConfig.MasterOutputTrigger = TIM_TRGO_RESET;
  sMasterConfig.MasterSlaveMode = TIM_MASTERSLAVEMODE_DISABLE;
  if (HAL_TIMEx_MasterConfigSynchronization(&htim5, &sMasterConfig) != HAL_OK)
  {
    Error_Handler();
  }
  sConfigOC.OCMode = TIM_OCMODE_TOGGLE;
  sConfigOC.Pulse = 0;
  sConfigOC.OCPolarity = TIM_OCPOLARITY_HIGH;
  sConfigOC.OCFastMode = TIM_OCFAST_DISABLE;
  if (HAL_TIM_OC_ConfigChannel(&htim5, &sConfigOC, TIM_CHANNEL_1) != HAL_OK)
  {
    Error_Handler();
  }
  HAL_TIM_MspPostInit(&htim5);

}

static void MX_TIM6_Init(void)
{

  TIM_MasterConfigTypeDef sMasterConfig = {0};

  htim6.Instance = TIM6;
  htim6.Init.Prescaler = 15000;
  htim6.Init.CounterMode = TIM_COUNTERMODE_UP;
  htim6.Init.Period = 1000;
  htim6.Init.AutoReloadPreload = TIM_AUTORELOAD_PRELOAD_DISABLE;
  if (HAL_TIM_Base_Init(&htim6) != HAL_OK)
  {
    Error_Handler();
  }
  sMasterConfig.MasterOutputTrigger = TIM_TRGO_RESET;
  sMasterConfig.MasterSlaveMode = TIM_MASTERSLAVEMODE_DISABLE;
  if (HAL_TIMEx_MasterConfigSynchronization(&htim6, &sMasterConfig) != HAL_OK)
  {
    Error_Handler();
  }

}

static void MX_USART1_UART_Init(void)
{

  huart1.Instance = USART1;
  huart1.Init.BaudRate = 115200;
  huart1.Init.WordLength = UART_WORDLENGTH_8B;
  huart1.Init.StopBits = UART_STOPBITS_1;
  huart1.Init.Parity = UART_PARITY_NONE;
  huart1.Init.Mode = UART_MODE_TX_RX;
  huart1.Init.HwFlowCtl = UART_HWCONTROL_NONE;
  huart1.Init.OverSampling = UART_OVERSAMPLING_16;
  huart1.Init.OneBitSampling = UART_ONE_BIT_SAMPLE_DISABLE;
  huart1.Init.ClockPrescaler = UART_PRESCALER_DIV1;
  huart1.AdvancedInit.AdvFeatureInit = UART_ADVFEATURE_NO_INIT;
  if (HAL_UART_Init(&huart1) != HAL_OK)
  {
    Error_Handler();
  }
  if (HAL_UARTEx_SetTxFifoThreshold(&huart1, UART_TXFIFO_THRESHOLD_1_8) != HAL_OK)
  {
    Error_Handler();
  }
  if (HAL_UARTEx_SetRxFifoThreshold(&huart1, UART_RXFIFO_THRESHOLD_1_8) != HAL_OK)
  {
    Error_Handler();
  }
  if (HAL_UARTEx_DisableFifoMode(&huart1) != HAL_OK)
  {
    Error_Handler();
  }

}

static void MX_DMA_Init(void)
{

  /* DMA controller clock enable */
  __HAL_RCC_DMAMUX1_CLK_ENABLE();
  __HAL_RCC_DMA1_CLK_ENABLE();

  /* DMA interrupt init */
  /* DMA1_Channel1_IRQn interrupt configuration */
  HAL_NVIC_SetPriority(DMA1_Channel1_IRQn, 0, 0);
  HAL_NVIC_EnableIRQ(DMA1_Channel1_IRQn);

}

static void MX_GPIO_Init(void)
{
  GPIO_InitTypeDef GPIO_InitStruct = {0};

  /* GPIO Ports Clock Enable */
  __HAL_RCC_GPIOF_CLK_ENABLE();
  __HAL_RCC_GPIOA_CLK_ENABLE();
  __HAL_RCC_GPIOC_CLK_ENABLE();
  __HAL_RCC_GPIOB_CLK_ENABLE();
  __HAL_RCC_GPIOE_CLK_ENABLE();

  /*Configure GPIO pin Output Level */
  HAL_GPIO_WritePin(GPIOA, LED_TX1_Pin|LED_RX1_Pin|LED_TX2_Pin|LED_RX2_Pin
                          |LED_TX3_Pin, GPIO_PIN_SET);

  /*Configure GPIO pin Output Level */
  HAL_GPIO_WritePin(LED_RX3_GPIO_Port, LED_RX3_Pin, GPIO_PIN_SET);

  /*Configure GPIO pin Output Level */
  HAL_GPIO_WritePin(GPIOB, ZeroB_Pin|FourB_Pin|fiveB_Pin|Pre_pre_Pin
                          |PreLast_Pin, GPIO_PIN_RESET);

  /*Configure GPIO pin Output Level */
  HAL_GPIO_WritePin(LastPin_GPIO_Port, LastPin_Pin, GPIO_PIN_RESET);

  /*Configure GPIO pins : Button_3_Pin Button_2_Pin Button_1_Pin */
  GPIO_InitStruct.Pin = Button_3_Pin|Button_2_Pin|Button_1_Pin;
  GPIO_InitStruct.Mode = GPIO_MODE_INPUT;
  GPIO_InitStruct.Pull = GPIO_PULLUP;
  HAL_GPIO_Init(GPIOA, &GPIO_InitStruct);

  /*Configure GPIO pins : LED_TX1_Pin LED_RX1_Pin LED_TX2_Pin LED_RX2_Pin
                           LED_TX3_Pin */
  GPIO_InitStruct.Pin = LED_TX1_Pin|LED_RX1_Pin|LED_TX2_Pin|LED_RX2_Pin
                          |LED_TX3_Pin;
  GPIO_InitStruct.Mode = GPIO_MODE_OUTPUT_PP;
  GPIO_InitStruct.Pull = GPIO_NOPULL;
  GPIO_InitStruct.Speed = GPIO_SPEED_FREQ_LOW;
  HAL_GPIO_Init(GPIOA, &GPIO_InitStruct);

  /*Configure GPIO pin : LED_RX3_Pin */
  GPIO_InitStruct.Pin = LED_RX3_Pin;
  GPIO_InitStruct.Mode = GPIO_MODE_OUTPUT_PP;
  GPIO_InitStruct.Pull = GPIO_NOPULL;
  GPIO_InitStruct.Speed = GPIO_SPEED_FREQ_LOW;
  HAL_GPIO_Init(LED_RX3_GPIO_Port, &GPIO_InitStruct);

  /*Configure GPIO pins : ZeroB_Pin FourB_Pin fiveB_Pin Pre_pre_Pin
                           PreLast_Pin */
  GPIO_InitStruct.Pin = ZeroB_Pin|FourB_Pin|fiveB_Pin|Pre_pre_Pin
                          |PreLast_Pin;
  GPIO_InitStruct.Mode = GPIO_MODE_OUTPUT_PP;
  GPIO_InitStruct.Pull = GPIO_NOPULL;
  GPIO_InitStruct.Speed = GPIO_SPEED_FREQ_LOW;
  HAL_GPIO_Init(GPIOB, &GPIO_InitStruct);

  /*Configure GPIO pin : CAN_RX3_Pin */
  GPIO_InitStruct.Pin = CAN_RX3_Pin;
  GPIO_InitStruct.Mode = GPIO_MODE_AF_PP;
  GPIO_InitStruct.Pull = GPIO_NOPULL;
  GPIO_InitStruct.Speed = GPIO_SPEED_FREQ_LOW;
  GPIO_InitStruct.Alternate = GPIO_AF11_FDCAN3;
  HAL_GPIO_Init(CAN_RX3_GPIO_Port, &GPIO_InitStruct);

  /*Configure GPIO pin : PA15 */
  GPIO_InitStruct.Pin = GPIO_PIN_15;
  GPIO_InitStruct.Mode = GPIO_MODE_AF_OD;
  GPIO_InitStruct.Pull = GPIO_PULLUP;
  GPIO_InitStruct.Speed = GPIO_SPEED_FREQ_LOW;
  GPIO_InitStruct.Alternate = GPIO_AF4_I2C1;
  HAL_GPIO_Init(GPIOA, &GPIO_InitStruct);

  /*Configure GPIO pin : LastPin_Pin */
  GPIO_InitStruct.Pin = LastPin_Pin;
  GPIO_InitStruct.Mode = GPIO_MODE_OUTPUT_PP;
  GPIO_InitStruct.Pull = GPIO_NOPULL;
  GPIO_InitStruct.Speed = GPIO_SPEED_FREQ_LOW;
  HAL_GPIO_Init(LastPin_GPIO_Port, &GPIO_InitStruct);

}

/* USER CODE BEGIN 4 */

static void CANFD1_Set_Filtes(void)
{
    FDCAN_FilterTypeDef sFilterConfig;

    sFilterConfig.IdType = FDCAN_STANDARD_ID;
    sFilterConfig.FilterIndex = 0;
    sFilterConfig.FilterType = FDCAN_FILTER_MASK;
    sFilterConfig.FilterConfig = FDCAN_FILTER_TO_RXFIFO0;
    sFilterConfig.FilterID1 = CAN_SPECIAL_ID;
    sFilterConfig.FilterID2 = 0x07FF;
    // sFilterConfig.RxBufferIndex = 0;
    if (HAL_FDCAN_ConfigFilter(&hfdcan1, &sFilterConfig) != HAL_OK) {
        /* Filter configuration Error */
        Error_Handler();
    }
    else {
        my_printf("filterOK\n\r");
    }

    if (HAL_FDCAN_ConfigGlobalFilter(&hfdcan1, FDCAN_REJECT, FDCAN_REJECT, FDCAN_FILTER_REMOTE, FDCAN_FILTER_REMOTE) !=
        HAL_OK) {
        Error_Handler();
    }

    // Activate the notification for new data in FIFO0 for FDCAN1
    if (HAL_FDCAN_ActivateNotification(&hfdcan1, FDCAN_IT_RX_FIFO0_NEW_MESSAGE, 0) != HAL_OK) {
        Error_Handler();
    }
    // STart FDCAN1
    if (HAL_FDCAN_Start(&hfdcan1) != HAL_OK) {
        Error_Handler();
    }
}

// FDCAN1 Callback
void HAL_FDCAN_RxFifo0Callback(FDCAN_HandleTypeDef *hfdcan, uint32_t RxFifo0ITs)
{
    HAL_GPIO_TogglePin(LED_RX1_GPIO_Port, LED_RX1_Pin);
    if ((RxFifo0ITs & FDCAN_IT_RX_FIFO0_NEW_MESSAGE) != RESET) {
        /* Retreive Rx messages from RX FIFO0 */
        if (HAL_FDCAN_GetRxMessage(hfdcan, FDCAN_RX_FIFO0, &RxHeader1, canRX) != HAL_OK) {
            /* Reception Error */
            Error_Handler();
        }
        else {
            if ((RxHeader1.Identifier != CAN_SPECIAL_ID)) {
                HAL_GPIO_TogglePin(LED_TX3_GPIO_Port, LED_TX3_Pin);
                my_printf("wrongID: %#x \n\r", RxHeader1.Identifier);
            }
            else {
                freshCanMsg = 1;
            }
        }
    }
}

/* USER CODE END 4 */

void Error_Handler(void)
{
  /* USER CODE BEGIN Error_Handler_Debug */
    /* User can add his own implementation to report the HAL error return
     * state */
    __disable_irq();
    while (1) {
    }
  /* USER CODE END Error_Handler_Debug */
}

#ifdef  USE_FULL_ASSERT
/**
  * @brief  Reports the name of the source file and the source line number
  *         where the assert_param error has occurred.
  * @param  file: pointer to the source file name
  * @param  line: assert_param error line source number
  * @retval None
  */
void assert_failed(uint8_t *file, uint32_t line)
{
  /* USER CODE BEGIN 6 */
    /* User can add his own implementation to report the file name and line
       number, ex: printf("Wrong parameters value: file %s on line %d\r\n",
       file, line) */
  /* USER CODE END 6 */
}
#endif /* USE_FULL_ASSERT */
